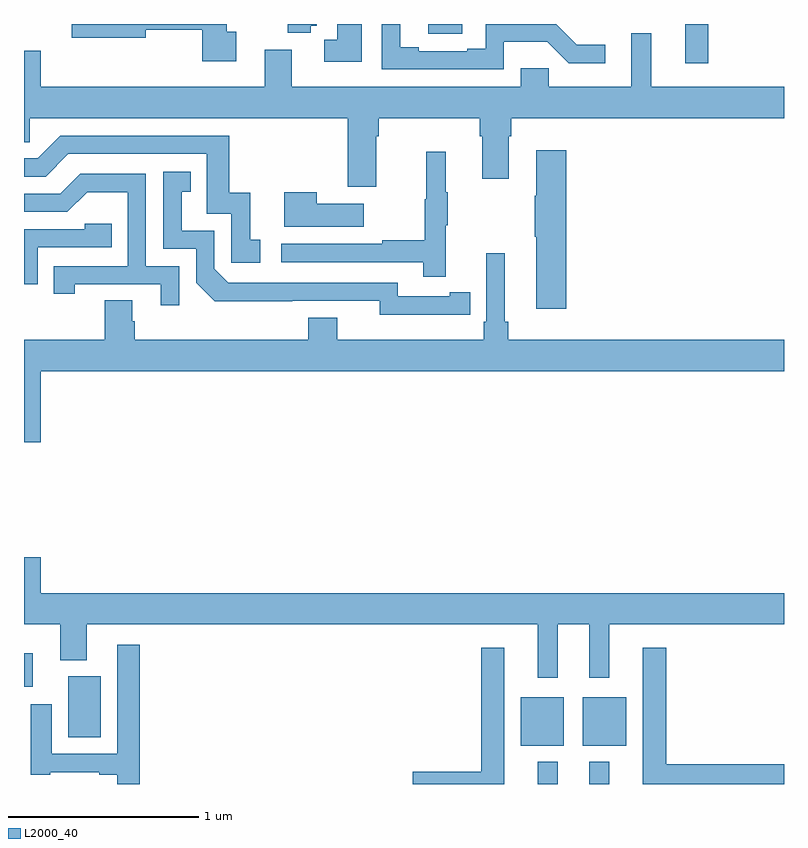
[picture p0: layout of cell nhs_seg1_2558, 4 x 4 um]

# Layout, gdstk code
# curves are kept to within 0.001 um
import gdstk
lib = gdstk.Library(unit=1e-6, precision=1e-09)
def R(c, l, rs):  # rectangles x0, y0, x1, y1
    for r in rs: c.add(gdstk.rectangle(r[:2], r[2:], *l))
def P(c, l, *ps):  # polygons
    for p in ps: c.add(gdstk.Polygon(p, *l))
L2000_40 = (2000, 40)

nhs_seg1_2558 = lib.new_cell('nhs_seg1_2558')
R(nhs_seg1_2558, L2000_40, [(251.705,576.199,251.809,576.316), (251.975,576.199,252.079,576.316), (251.615,576.401,251.842,576.655), (251.942,576.401,252.169,576.655), (249.233,576.446,249.403,576.766), (249,576.71,249.046,576.886), (252.479,579.993,252.601,580.199), (251.127,580.147,251.306,580.199)])
P(nhs_seg1_2558, L2000_40, [(251.526,580.106),(251.755,580.106),(251.868,579.993),(252.058,579.993),(252.058,580.09),(251.909,580.09),(251.8,580.199),(251.43,580.199),(251.43,580.07),(251.333,580.07),(251.333,580.056),(251.077,580.056),(251.077,580.076),(250.981,580.076),(250.981,580.199),(250.884,580.199),(250.884,579.96),(251.526,579.96)],
  [(250.777,580.199),(250.649,580.199),(250.649,580.116),(250.581,580.116),(250.581,580.001),(250.777,580.001)],
  [(250.508,580.19),(250.54,580.19),(250.54,580.199),(250.388,580.199),(250.388,580.153),(250.508,580.153)],
  [(250.117,580.158),(250.066,580.158),(250.066,580.199),(249.252,580.199),(249.252,580.127),(249.64,580.127),(249.64,580.17),(249.937,580.17),(249.937,580.002),(250.117,580.002)],
  [(250.855,579.608),(250.868,579.608),(250.868,579.704),(251.399,579.704),(251.399,579.608),(251.411,579.608),(251.411,579.384),(251.551,579.384),(251.551,579.608),(251.564,579.608),(251.564,579.704),(253,579.704),(253,579.868),(252.301,579.868),(252.301,580.15),(252.197,580.15),(252.197,579.868),(251.762,579.868),(251.762,579.966),(251.615,579.966),(251.615,579.868),(250.408,579.868),(250.408,580.063),(250.268,580.063),(250.268,579.868),(249.088,579.868),(249.088,580.057),(249,580.057),(249,579.577),(249.03,579.577),(249.03,579.704),(250.703,579.704),(250.703,579.342),(250.855,579.342)],
  [(250.243,579.063),(250.19,579.063),(250.19,579.31),(250.079,579.31),(250.079,579.612),(249.192,579.612),(249.072,579.492),(249,579.492),(249,579.396),(249.114,579.396),(249.234,579.516),(249.963,579.516),(249.963,579.201),(250.092,579.201),(250.092,578.943),(250.243,578.943)],
  [(251.855,579.535),(251.696,579.535),(251.696,579.296),(251.689,579.296),(251.689,579.079),(251.696,579.079),(251.696,578.7),(251.855,578.7)],
  [(251.219,579.139),(251.23,579.139),(251.23,579.313),(251.219,579.313),(251.219,579.526),(251.116,579.526),(251.116,579.276),(251.109,579.276),(251.109,579.062),(250.885,579.062),(250.885,579.042),(250.353,579.042),(250.353,578.946),(251.101,578.946),(251.101,578.868),(251.219,578.868)],
  [(251.24,578.67),(251.348,578.67),(251.348,578.786),(251.24,578.786),(251.24,578.766),(250.968,578.766),(250.968,578.838),(250.074,578.838),(250.002,578.91),(250.002,579.111),(249.829,579.111),(249.829,579.315),(249.878,579.315),(249.878,579.421),(249.732,579.421),(249.732,579.015),(249.906,579.015),(249.906,578.838),(250.004,578.741),(250.872,578.742),(250.872,578.669)],
  [(249.816,578.925),(249.642,578.925),(249.642,579.411),(249.296,579.411),(249.191,579.306),(249,579.306),(249,579.21),(249.228,579.21),(249.332,579.314),(249.546,579.314),(249.546,578.925),(249.157,578.925),(249.157,578.778),(249.268,578.778),(249.268,578.829),(249.719,578.829),(249.719,578.718),(249.816,578.718)],
  [(250.789,579.253),(250.541,579.253),(250.541,579.313),(250.37,579.313),(250.37,579.131),(250.789,579.131)],
  [(249.072,579.024),(249.461,579.024),(249.461,579.147),(249.321,579.147),(249.321,579.12),(249,579.12),(249,578.829),(249.072,578.829)],
  [(249.088,578.372),(253,578.372),(253,578.536),(251.549,578.536),(251.549,578.632),(251.53,578.632),(251.53,578.992),(251.433,578.992),(251.433,578.632),(251.42,578.632),(251.42,578.536),(250.648,578.536),(250.648,578.653),(250.496,578.653),(250.496,578.536),(249.584,578.536),(249.584,578.634),(249.571,578.634),(249.571,578.744),(249.424,578.744),(249.424,578.536),(249,578.536),(249,577.998),(249.088,577.998)],
  [(251.809,577.04),(251.975,577.04),(251.975,576.759),(252.079,576.759),(252.079,577.04),(253,577.04),(253,577.204),(249.088,577.204),(249.088,577.393),(249,577.393),(249,577.04),(249.191,577.04),(249.191,576.851),(249.331,576.851),(249.331,577.04),(251.705,577.04),(251.705,576.759),(251.809,576.759)],
  [(249.608,576.931),(249.492,576.931),(249.492,576.357),(249.145,576.357),(249.145,576.619),(249.035,576.619),(249.035,576.249),(249.139,576.249),(249.139,576.261),(249.395,576.261),(249.395,576.249),(249.491,576.249),(249.491,576.199),(249.608,576.199)],
  [(251.527,576.916),(251.406,576.916),(251.406,576.263),(251.046,576.263),(251.046,576.199),(251.527,576.199)],
  [(253,576.302),(252.379,576.302),(252.379,576.916),(252.257,576.916),(252.257,576.199),(253,576.199)])

lib.write_gds('nhs_seg1_2558.gds')
